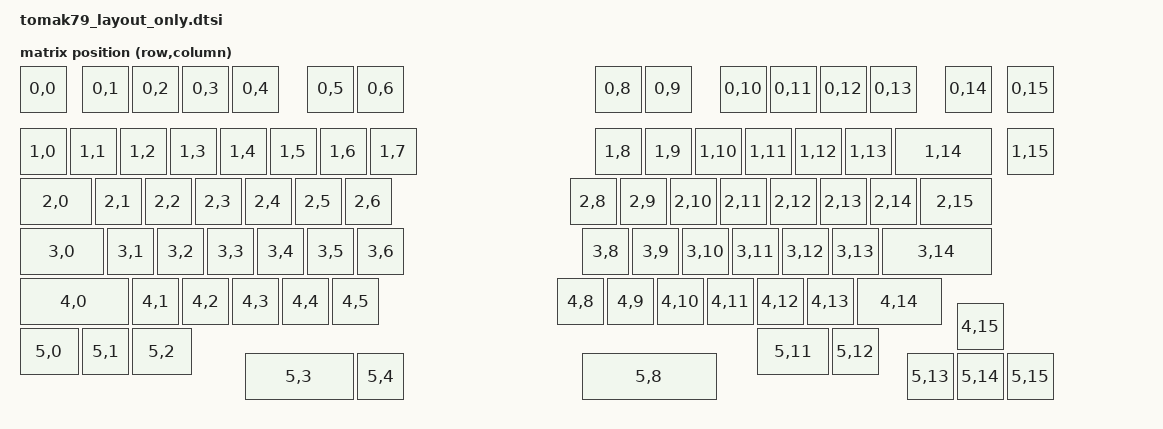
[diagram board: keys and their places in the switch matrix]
#include <dt-bindings/zmk/matrix_transform.h>
#include <physical_layouts.dtsi>

/ {
    chosen {
        zmk,physical-layout = &physical_layout0;
    };

    physical_layout0: physical_layout_0 {
        compatible = "zmk,physical-layout";
        display-name = "Default";
        transform = <&default_transform>;

        keys
            = <&key_physical_attrs 100 100    0    0       0    0    0>
            , <&key_physical_attrs 100 100  125    0       0    0    0>
            , <&key_physical_attrs 100 100  225    0       0    0    0>
            , <&key_physical_attrs 100 100  325    0       0    0    0>
            , <&key_physical_attrs 100 100  425    0       0    0    0>
            , <&key_physical_attrs 100 100  575    0       0    0    0>
            , <&key_physical_attrs 100 100  675    0       0    0    0>
            , <&key_physical_attrs 100 100 1150    0       0    0    0>
            , <&key_physical_attrs 100 100 1250    0       0    0    0>
            , <&key_physical_attrs 100 100 1400    0       0    0    0>
            , <&key_physical_attrs 100 100 1500    0       0    0    0>
            , <&key_physical_attrs 100 100 1600    0       0    0    0>
            , <&key_physical_attrs 100 100 1700    0       0    0    0>
            , <&key_physical_attrs 100 100 1850    0       0    0    0>
            , <&key_physical_attrs 100 100 1975    0       0    0    0>

            , <&key_physical_attrs 100 100    0  125       0    0    0>
            , <&key_physical_attrs 100 100  100  125       0    0    0>
            , <&key_physical_attrs 100 100  200  125       0    0    0>
            , <&key_physical_attrs 100 100  300  125       0    0    0>
            , <&key_physical_attrs 100 100  400  125       0    0    0>
            , <&key_physical_attrs 100 100  500  125       0    0    0>
            , <&key_physical_attrs 100 100  600  125       0    0    0>
            , <&key_physical_attrs 100 100  700  125       0    0    0>
            , <&key_physical_attrs 100 100 1150  125       0    0    0>
            , <&key_physical_attrs 100 100 1250  125       0    0    0>
            , <&key_physical_attrs 100 100 1350  125       0    0    0>
            , <&key_physical_attrs 100 100 1450  125       0    0    0>
            , <&key_physical_attrs 100 100 1550  125       0    0    0>
            , <&key_physical_attrs 100 100 1650  125       0    0    0>
            , <&key_physical_attrs 200 100 1750  125       0    0    0>
            , <&key_physical_attrs 100 100 1975  125       0    0    0>

            , <&key_physical_attrs 150 100    0  225       0    0    0>
            , <&key_physical_attrs 100 100  150  225       0    0    0>
            , <&key_physical_attrs 100 100  250  225       0    0    0>
            , <&key_physical_attrs 100 100  350  225       0    0    0>
            , <&key_physical_attrs 100 100  450  225       0    0    0>
            , <&key_physical_attrs 100 100  550  225       0    0    0>
            , <&key_physical_attrs 100 100  650  225       0    0    0>
            , <&key_physical_attrs 100 100 1100  225       0    0    0>
            , <&key_physical_attrs 100 100 1200  225       0    0    0>
            , <&key_physical_attrs 100 100 1300  225       0    0    0>
            , <&key_physical_attrs 100 100 1400  225       0    0    0>
            , <&key_physical_attrs 100 100 1500  225       0    0    0>
            , <&key_physical_attrs 100 100 1600  225       0    0    0>
            , <&key_physical_attrs 100 100 1700  225       0    0    0>
            , <&key_physical_attrs 150 100 1800  225       0    0    0>

            , <&key_physical_attrs 175 100    0  325       0    0    0>
            , <&key_physical_attrs 100 100  175  325       0    0    0>
            , <&key_physical_attrs 100 100  275  325       0    0    0>
            , <&key_physical_attrs 100 100  375  325       0    0    0>
            , <&key_physical_attrs 100 100  475  325       0    0    0>
            , <&key_physical_attrs 100 100  575  325       0    0    0>
            , <&key_physical_attrs 100 100  675  325       0    0    0>
            , <&key_physical_attrs 100 100 1125  325       0    0    0>
            , <&key_physical_attrs 100 100 1225  325       0    0    0>
            , <&key_physical_attrs 100 100 1325  325       0    0    0>
            , <&key_physical_attrs 100 100 1425  325       0    0    0>
            , <&key_physical_attrs 100 100 1525  325       0    0    0>
            , <&key_physical_attrs 100 100 1625  325       0    0    0>
            , <&key_physical_attrs 225 100 1725  325       0    0    0>

            , <&key_physical_attrs 225 100    0  425       0    0    0>
            , <&key_physical_attrs 100 100  225  425       0    0    0>
            , <&key_physical_attrs 100 100  325  425       0    0    0>
            , <&key_physical_attrs 100 100  425  425       0    0    0>
            , <&key_physical_attrs 100 100  525  425       0    0    0>
            , <&key_physical_attrs 100 100  625  425       0    0    0>
            , <&key_physical_attrs 100 100 1075  425       0    0    0>
            , <&key_physical_attrs 100 100 1175  425       0    0    0>
            , <&key_physical_attrs 100 100 1275  425       0    0    0>
            , <&key_physical_attrs 100 100 1375  425       0    0    0>
            , <&key_physical_attrs 100 100 1475  425       0    0    0>
            , <&key_physical_attrs 100 100 1575  425       0    0    0>
            , <&key_physical_attrs 175 100 1675  425       0    0    0>
            , <&key_physical_attrs 100 100 1875  475       0    0    0>

            , <&key_physical_attrs 125 100    0  525       0    0    0>
            , <&key_physical_attrs 100 100  125  525       0    0    0>
            , <&key_physical_attrs 125 100  225  525       0    0    0>
            , <&key_physical_attrs 150 100 1475  525       0    0    0>
            , <&key_physical_attrs 100 100 1625  525       0    0    0>
            , <&key_physical_attrs 225 100  450  575       0    0    0>
            , <&key_physical_attrs 100 100  675  575       0    0    0>
            , <&key_physical_attrs 275 100 1125  575       0    0    0>
            , <&key_physical_attrs 100 100 1775  575       0    0    0>
            , <&key_physical_attrs 100 100 1875  575       0    0    0>
            , <&key_physical_attrs 100 100 1975  575       0    0    0>
            ;
    };

    default_transform: keymap_transform_0 {
        compatible = "zmk,matrix-transform";
        columns = <16>;
        rows = <6>;

        map = <
            RC(0,0)  RC(0,1)  RC(0,2)  RC(0,3)  RC(0,4)  RC(0,5)  RC(0,6)  RC(0,8)  RC(0,9)  RC(0,10) RC(0,11) RC(0,12) RC(0,13) RC(0,14) RC(0,15)
            RC(1,0)  RC(1,1)  RC(1,2)  RC(1,3)  RC(1,4)  RC(1,5)  RC(1,6)  RC(1,7)  RC(1,8)  RC(1,9)  RC(1,10) RC(1,11) RC(1,12) RC(1,13) RC(1,14) RC(1,15)
            RC(2,0)  RC(2,1)  RC(2,2)  RC(2,3)  RC(2,4)  RC(2,5)  RC(2,6)  RC(2,8)  RC(2,9)  RC(2,10) RC(2,11) RC(2,12) RC(2,13) RC(2,14) RC(2,15)
            RC(3,0)  RC(3,1)  RC(3,2)  RC(3,3)  RC(3,4)  RC(3,5)  RC(3,6)  RC(3,8)  RC(3,9)  RC(3,10) RC(3,11) RC(3,12) RC(3,13) RC(3,14)
            RC(4,0)  RC(4,1)  RC(4,2)  RC(4,3)  RC(4,4)  RC(4,5)  RC(4,8)  RC(4,9)  RC(4,10) RC(4,11) RC(4,12) RC(4,13) RC(4,14)
            RC(4,15)
            RC(5,0)  RC(5,1)  RC(5,2)  RC(5,11) RC(5,12)
            RC(5,3)  RC(5,4)  RC(5,8)  RC(5,13) RC(5,14) RC(5,15)
        >;
    };
};
